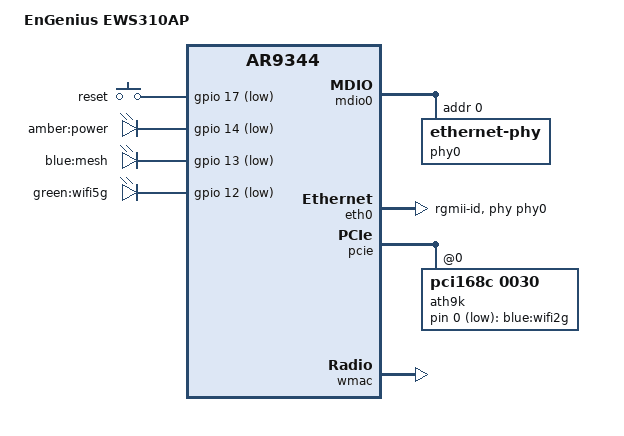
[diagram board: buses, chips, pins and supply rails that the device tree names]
// SPDX-License-Identifier: GPL-2.0-or-later OR MIT

#include "ar9344.dtsi"
#include "ar934x_senao_loader.dtsi"

#include <dt-bindings/gpio/gpio.h>
#include <dt-bindings/input/input.h>

/ {
	compatible = "engenius,ews310ap", "qca,ar9344";
	model = "EnGenius EWS310AP";

	aliases {
		label-mac-device = &eth0;
		led-boot = &led_power;
		led-failsafe = &led_power;
		led-running = &led_power;
		led-upgrade = &led_power;
	};

	keys {
		compatible = "gpio-keys";

		reset {
			label = "reset";
			gpios = <&gpio 17 GPIO_ACTIVE_LOW>;
			debounce-interval = <60>;
			linux,code = <KEY_RESTART>;
		};
	};

	leds {
		compatible = "gpio-leds";

		led_power: power {
			label = "amber:power";
			gpios = <&gpio 14 GPIO_ACTIVE_LOW>;
			default-state = "on";
		};

		mesh {
			label = "blue:mesh";
			gpios = <&gpio 13 GPIO_ACTIVE_LOW>;
		};

		wifi5g {
			label = "green:wifi5g";
			gpios = <&gpio 12 GPIO_ACTIVE_LOW>;
			linux,default-trigger = "phy0tpt";
		};
	};

	ath9k-leds {
		compatible = "gpio-leds";

		wifi2g {
			label = "blue:wifi2g";
			gpios = <&ath9k 0 GPIO_ACTIVE_LOW>;
			linux,default-trigger = "phy1tpt";
		};
	};
};

&mdio0 {
	status = "okay";

	phy0: ethernet-phy@0 {
		reg = <0>;
		eee-broken-100tx;
		eee-broken-1000t;
	};
};

&eth0 {
	status = "okay";

	mtd-mac-address = <&art 0x0>;

	phy-handle = <&phy0>;
	phy-mode = "rgmii-id";

	pll-data = <0x02000000 0x00000101 0x00001313>;

	gmac-config {
		device = <&gmac>;
		rgmii-gmac0 = <1>;
		rxdv-delay = <3>;
		rxd-delay = <3>;
	};
};

&pcie {
	status = "okay";

	ath9k: wifi@0,0,0 {
		compatible = "pci168c,0030";
		reg = <0x0 0 0 0 0>;
		mtd-mac-address = <&art 0x0>;
		mtd-mac-address-increment = <1>;
		qca,disable-5ghz;
		qca,no-eeprom;
		#gpio-cells = <2>;
		gpio-controller;
	};
};

&wmac {
	status = "okay";

	qca,disable-2ghz;

	mtd-cal-data = <&art 0x1000>;
	mtd-mac-address = <&art 0x0>;
	mtd-mac-address-increment = <2>;
};
